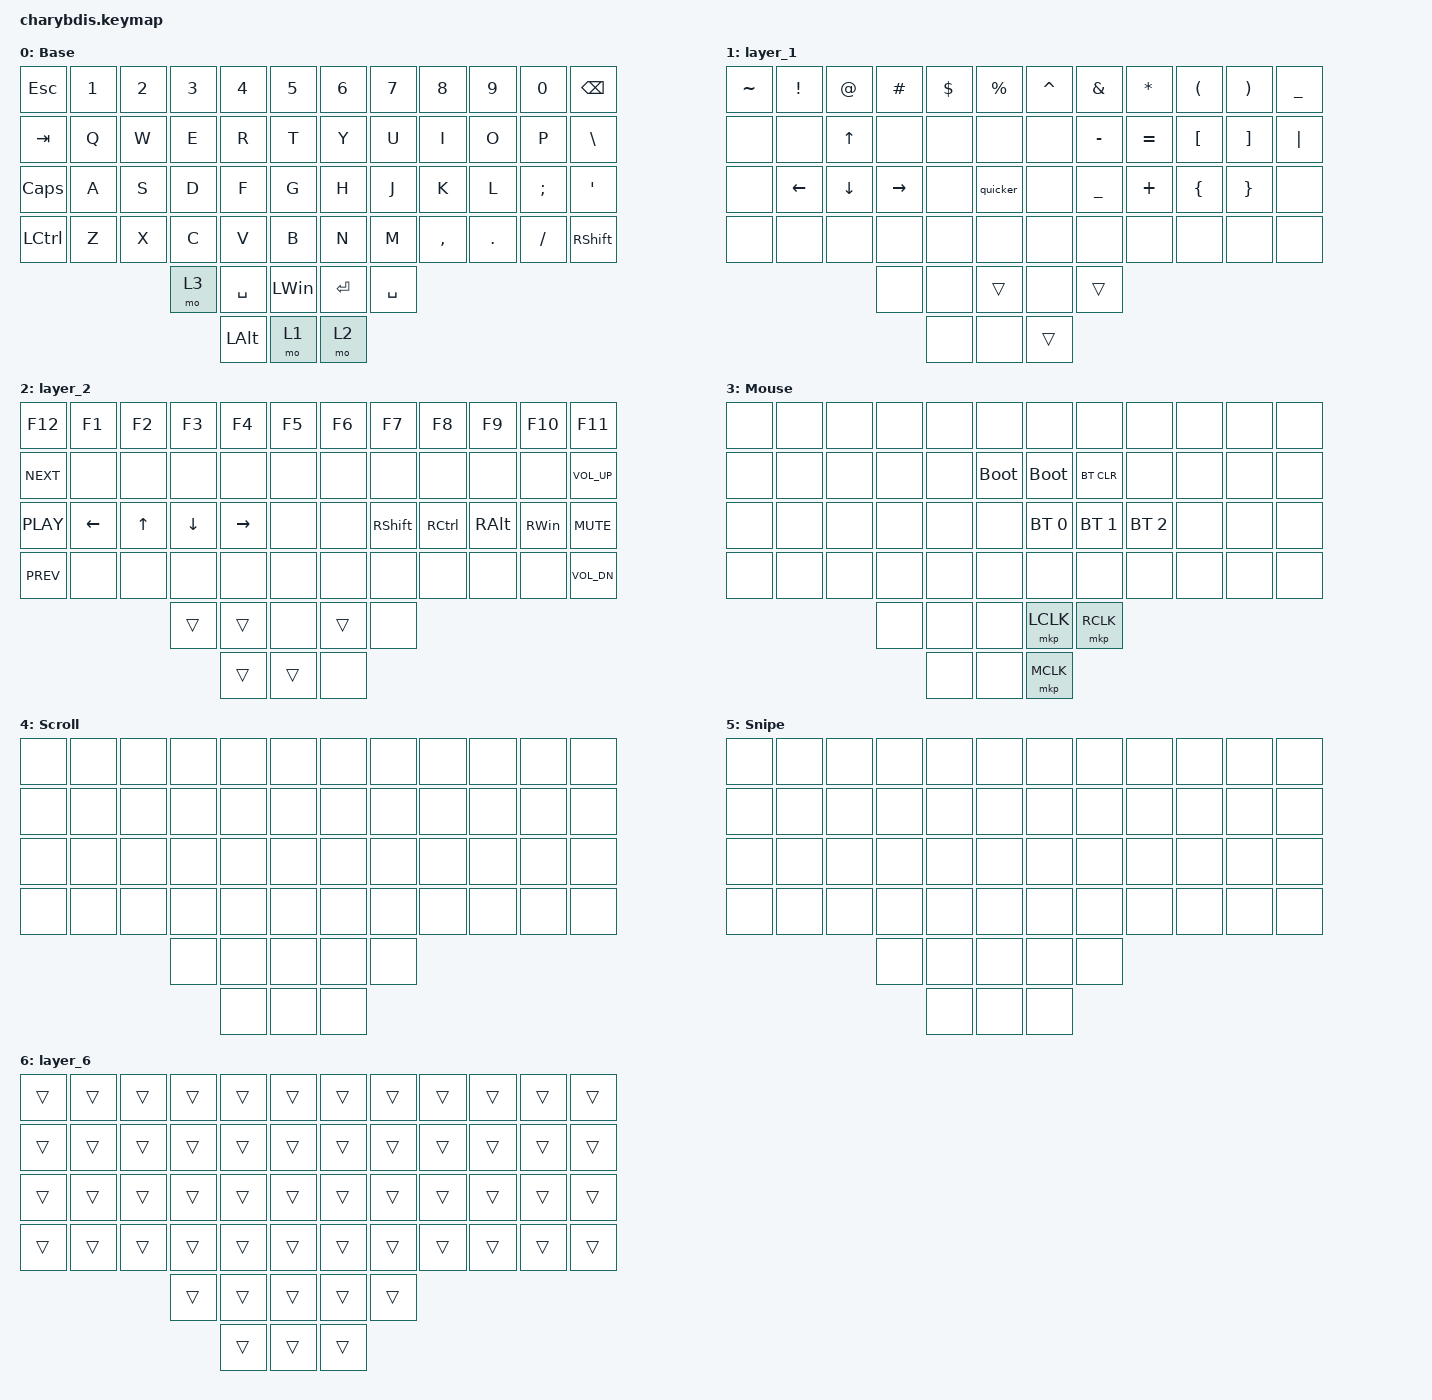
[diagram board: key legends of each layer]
#include <behaviors/mouse_keys.dtsi>
#include <dt-bindings/zmk/mouse.h>
#include <behaviors.dtsi>
#include <dt-bindings/zmk/bt.h>
#include <dt-bindings/zmk/keys.h>
#include <dt-bindings/zmk/pointing.h>

&lt {
    tapping-term-ms = <240>;
    flavor = "tap-preferred";
    quick-tap-ms = <150>;
    require-prior-idle-ms = <10>;
};

&mt {
    tapping-term-ms = <250>;
    flavor = "tap-preferred";
    require-prior-idle-ms = <250>;
};

/ {
    combos {
        compatible = "zmk,combos";

        LeftClickRight {
            bindings = <&mkp LCLK>;
            key-positions = <31 32>;
        };

        RightClickRight {
            bindings = <&mkp RCLK>;
            key-positions = <32 33>;
        };

        scroll {
            bindings = <&mo 4>;
            key-positions = <31 32 33>;
        };
    };

    behaviors {
        Shift_Enter: Shift_Enter {
            compatible = "zmk,behavior-hold-tap";
            label = "SHIFT_ENTER";
            bindings = <&kp>, <&kp>;

            #binding-cells = <2>;
            hold-trigger-key-positions = <34>;
            tapping-term-ms = <100>;
        };
    };

    macros {
        quicker: quicker {
            compatible = "zmk,behavior-macro";
            #binding-cells = <0>;
            bindings = <&kp LEFT_CONTROL &kp LCTRL>, <&macro_press>;

            label = "QUICKER";
        };
    };

    keymap {
        compatible = "zmk,keymap";

        Base {
            bindings = <
&kp ESC    &kp N1  &kp N2  &kp N3  &kp N4        &kp N5          &kp N6     &kp N7     &kp N8     &kp N9      &kp N0     &kp BSPC
&kp TAB    &kp Q   &kp W   &kp E   &kp R         &kp T           &kp Y      &kp U      &kp I      &kp O       &kp P      &kp BSLH
&kp CAPS   &kp A   &kp S   &kp D   &kp F         &kp G           &kp H      &kp J      &kp K      &kp L       &kp SEMI   &kp APOS
&kp LCTRL  &kp Z   &kp X   &kp C   &kp V         &kp B           &kp N      &kp M      &kp COMMA  &kp PERIOD  &kp SLASH  &kp RSHFT
                           &mo 3   &kp SPACE     &kp LEFT_WIN    &kp ENTER  &kp SPACE
                                   &kp LEFT_ALT  &mo 1           &mo 2
            >;
        };

        layer_1 {
            bindings = <
&kp TILDE  &kp EXCLAMATION  &kp AT_SIGN   &kp HASH   &kp DOLLAR  &kp PERCENT    &kp CARET  &kp AMPERSAND   &kp ASTERISK  &kp LEFT_PARENTHESIS  &kp RIGHT_PARENTHESIS  &kp UNDERSCORE
&none      &none            &kp UP_ARROW  &none      &none       &none          &none      &kp MINUS       &kp EQUAL     &kp LBKT              &kp RBKT               &kp PIPE
&none      &kp LEFT         &kp DOWN      &kp RIGHT  &none       &quicker       &none      &kp UNDERSCORE  &kp PLUS      &kp LEFT_BRACE        &kp RIGHT_BRACE        &none
&none      &none            &none         &none      &none       &none          &none      &none           &none         &none                 &none                  &none
                                          &none      &none       &trans         &none      &trans
                                                     &none       &none          &trans
            >;
        };

        layer_2 {
            bindings = <
&kp F12     &kp F1    &kp F2        &kp F3          &kp F4           &kp F5    &kp F6  &kp F7           &kp F8     &kp F9         &kp F10        &kp F11
&kp C_NEXT  &none     &none         &none           &none            &none     &none   &none            &none      &none          &none          &kp C_VOL_UP
&kp C_PLAY  &kp LEFT  &kp UP_ARROW  &kp DOWN_ARROW  &kp RIGHT_ARROW  &none     &none   &kp RIGHT_SHIFT  &kp RCTRL  &kp RIGHT_ALT  &kp RIGHT_WIN  &kp K_MUTE
&kp C_PREV  &none     &none         &none           &none            &none     &none   &none            &none      &none          &none          &kp C_VOL_DN
                                    &trans          &trans           &none     &trans  &none
                                                    &trans           &trans    &none
            >;
        };

        Mouse {
            bindings = <
&none  &none  &none  &none  &none  &none          &none         &none         &none         &none  &none  &none
&none  &none  &none  &none  &none  &bootloader    &bootloader   &bt BT_CLR    &none         &none  &none  &none
&none  &none  &none  &none  &none  &none          &bt BT_SEL 0  &bt BT_SEL 1  &bt BT_SEL 2  &none  &none  &none
&none  &none  &none  &none  &none  &none          &none         &none         &none         &none  &none  &none
                     &none  &none  &none          &mkp LCLK     &mkp RCLK
                            &none  &none          &mkp MCLK
            >;
        };

        Scroll {
            bindings = <
&none  &none  &none  &none  &none  &none    &none  &none  &none  &none  &none  &none
&none  &none  &none  &none  &none  &none    &none  &none  &none  &none  &none  &none
&none  &none  &none  &none  &none  &none    &none  &none  &none  &none  &none  &none
&none  &none  &none  &none  &none  &none    &none  &none  &none  &none  &none  &none
                     &none  &none  &none    &none  &none
                            &none  &none    &none
            >;
        };

        Snipe {
            bindings = <
&none  &none  &none  &none  &none  &none    &none  &none  &none  &none  &none  &none
&none  &none  &none  &none  &none  &none    &none  &none  &none  &none  &none  &none
&none  &none  &none  &none  &none  &none    &none  &none  &none  &none  &none  &none
&none  &none  &none  &none  &none  &none    &none  &none  &none  &none  &none  &none
                     &none  &none  &none    &none  &none
                            &none  &none    &none
            >;
        };

        layer_6 {
            bindings = <
&trans  &trans  &trans  &trans  &trans  &trans    &trans  &trans  &trans  &trans  &trans  &trans
&trans  &trans  &trans  &trans  &trans  &trans    &trans  &trans  &trans  &trans  &trans  &trans
&trans  &trans  &trans  &trans  &trans  &trans    &trans  &trans  &trans  &trans  &trans  &trans
&trans  &trans  &trans  &trans  &trans  &trans    &trans  &trans  &trans  &trans  &trans  &trans
                        &trans  &trans  &trans    &trans  &trans
                                &trans  &trans    &trans
            >;
        };
    };
};
